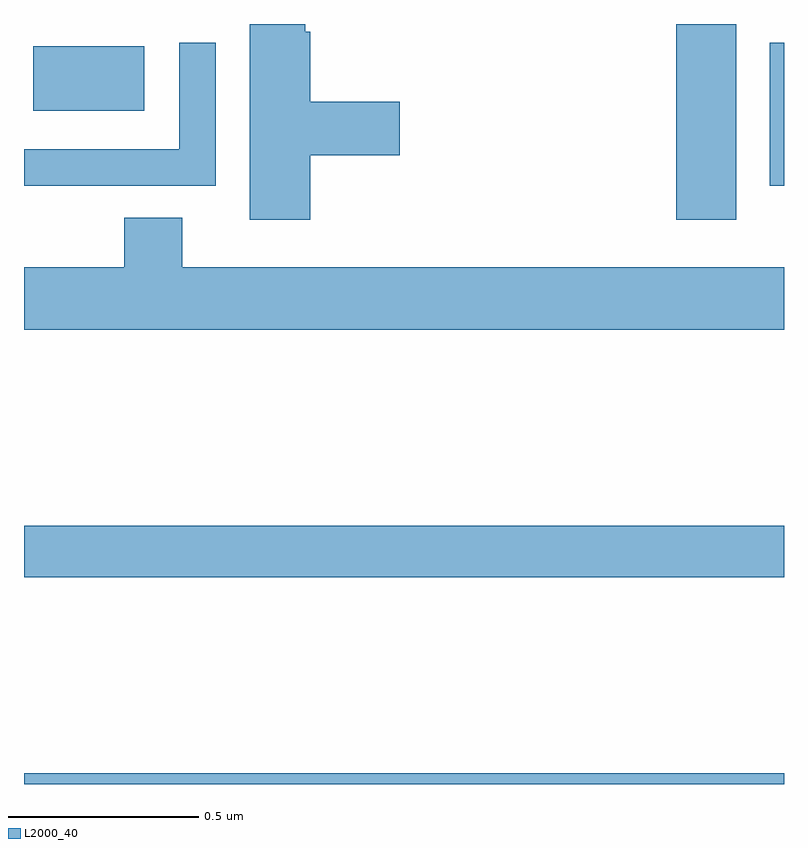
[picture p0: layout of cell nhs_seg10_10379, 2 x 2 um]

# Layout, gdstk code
import gdstk
lib = gdstk.Library(unit=1e-6, precision=1e-09)
def R(c, l, rs):  # rectangles x0, y0, x1, y1
    for r in rs: c.add(gdstk.rectangle(r[:2], r[2:], *l))
def P(c, l, *ps):  # polygons
    for p in ps: c.add(gdstk.Polygon(p, *l))
L2000_40 = (2000, 40)

nhs_seg10_10379 = lib.new_cell('nhs_seg10_10379')
R(nhs_seg10_10379, L2000_40, [(242,1252.5,244,1252.528), (242,1253.044,244,1253.18), (243.716,1253.985,243.874,1254.5), (243.963,1254.075,244,1254.451), (242.024,1254.272,242.317,1254.442)])
P(nhs_seg10_10379, L2000_40, [(242.753,1254.154),(242.989,1254.154),(242.989,1254.296),(242.753,1254.296),(242.753,1254.479),(242.74,1254.479),(242.74,1254.5),(242.594,1254.5),(242.594,1253.985),(242.753,1253.985)],
  [(242.18,1254.075),(242.505,1254.075),(242.505,1254.451),(242.409,1254.451),(242.409,1254.171),(242,1254.171),(242,1254.074),(242.18,1254.074)],
  [(244,1253.86),(242.416,1253.86),(242.416,1253.99),(242.264,1253.99),(242.264,1253.86),(242,1253.86),(242,1253.696),(244,1253.696)])

lib.write_gds('nhs_seg10_10379.gds')
